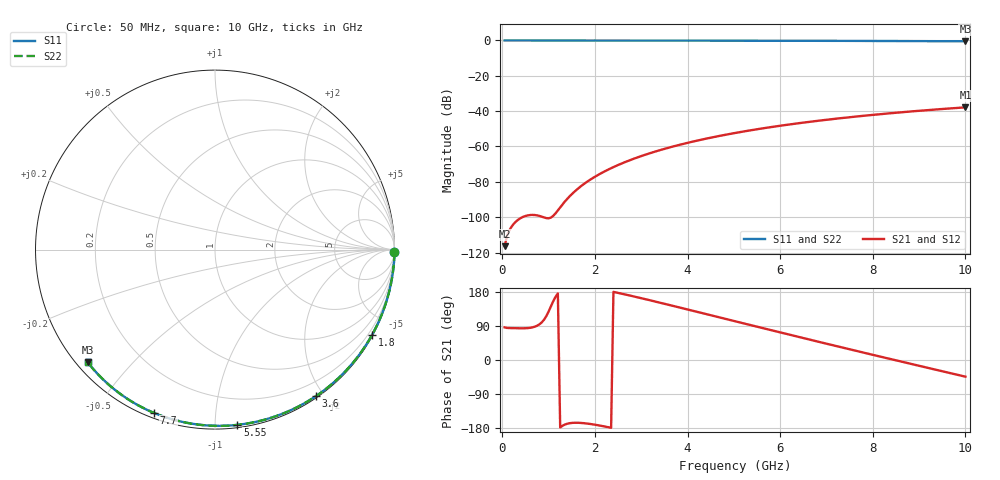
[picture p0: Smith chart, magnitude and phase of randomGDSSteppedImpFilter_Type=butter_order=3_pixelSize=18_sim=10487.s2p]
! freq	dB(S11)	phase(S11)	dB(S12)	phase(S12)
!  dB(S21)	phase(S21)	dB(S22)	phase(S22)
!S-par simulation data
#  GHz  S  DB  R 50
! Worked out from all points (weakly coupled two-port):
!   200 points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, 50 MHz to 10 GHz, reference 50 ohm
!   highest |S21| = -37.85 dB at 10 GHz (marker M1); lowest = -116.4 dB at 50 MHz (marker M2)
!   lowest |S11| = -0.5 dB at 10 GHz (marker M3), VSWR 37.02, Z = 1.55 - j19 ohm
!   |S11| at or under -10 dB: nowhere
!   |S22| runs from -0.5 to 0.0 dB; largest |S21 - S12| = 0
!   S11 on the Smith chart (normalised r, x): 50 MHz: open; 1.8 GHz: 0.03, -3.95; 3.6 GHz: 0.02, -1.90; 5.55 GHz: 0.02, -1.14; 7.7 GHz: 0.02, -0.69; 10 GHz: 0.03, -0.38
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0.05  -0.00 -0.8  -116.41 86.1  -116.41 86.1  -0.00 -0.8
0.45  -0.01 -7.2  -99.83 83.6  -99.83 83.6  -0.01 -7.2
0.9  -0.02 -14.3  -100.15 106.1  -100.15 106.1  -0.02 -14.3
1.75  -0.04 -27.6  -81.46 -166.6  -81.46 -166.6  -0.04 -27.6
1.8  -0.04 -28.4  -80.52 -167.2  -80.52 -167.2  -0.04 -28.4
1.85  -0.04 -29.2  -79.62 -168.0  -79.62 -168.0  -0.04 -29.2
2.05  -0.04 -32.3  -76.36 -171.8  -76.36 -171.8  -0.04 -32.3
2.25  -0.05 -35.3  -73.55 -176.4  -73.55 -176.4  -0.05 -35.3
2.55  -0.05 -39.9  -69.92 175.8  -69.92 175.8  -0.05 -39.9
2.95  -0.06 -45.9  -65.89 164.6  -65.89 164.6  -0.06 -45.9
3.4  -0.07 -52.5  -62.10 151.4  -62.10 151.4  -0.07 -52.5
3.6  -0.07 -55.5  -60.62 145.4  -60.62 145.4  -0.07 -55.5
3.9  -0.08 -59.8  -58.58 136.4  -58.58 136.4  -0.08 -59.8
4.3  -0.09 -65.5  -56.14 124.3  -56.14 124.3  -0.09 -65.5
5.05  -0.12 -76.0  -52.25 101.5  -52.25 101.5  -0.12 -76.0
5.55  -0.14 -82.7  -50.04 86.4  -50.04 86.4  -0.14 -82.7
6.1  -0.16 -90.0  -47.90 69.9  -47.90 69.9  -0.16 -90.0
6.7  -0.19 -97.8  -45.83 51.9  -45.83 51.9  -0.19 -97.8
7.7  -0.25 -110.4  -42.90 22.4  -42.90 22.4  -0.25 -110.4
8.35  -0.30 -118.4  -41.26 3.5  -41.26 3.5  -0.30 -118.5
9.2  -0.38 -128.8  -39.38 -21.0  -39.38 -21.0  -0.38 -128.8
10  -0.47 -138.4  -37.85 -44.0  -37.85 -44.0  -0.47 -138.4
